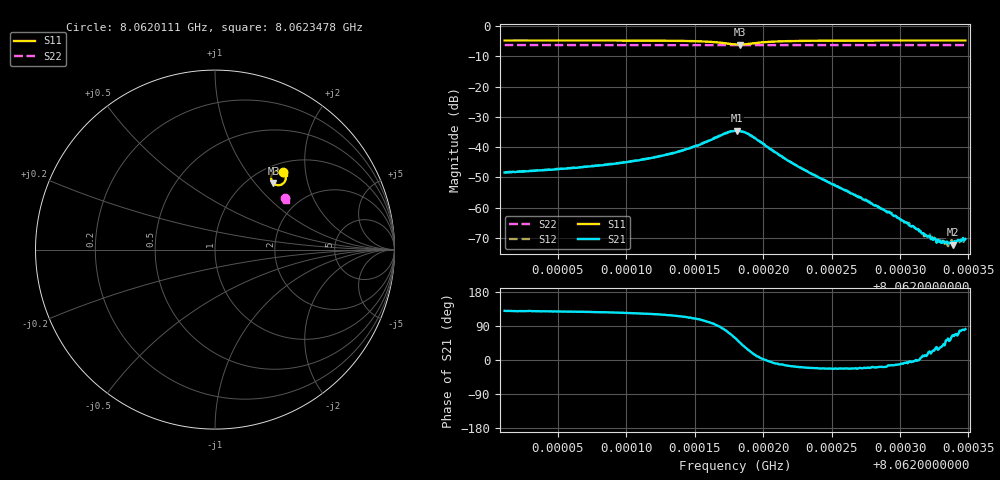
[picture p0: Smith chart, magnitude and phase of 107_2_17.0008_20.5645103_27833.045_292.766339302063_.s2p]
#  HZ  S  RI  R  50.00
! Rohde & Schwarz Vector Network Analyzer
! Rohde-Schwarz,ZNB20-2Port,1311601062101988,3.16
! Created: UTC 3/20/2024, 10:56:52 PM
! freq[Hz]  re:S11  im:S11  re:S21  im:S21  re:S12  im:S12  re:S22  im:S22
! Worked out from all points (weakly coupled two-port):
!   401 points, 8.0620111 GHz to 8.0623478 GHz, reference 50 ohm
!   highest |S21| = -34.60 dB at 8.0621811 GHz (marker M1); lowest = -72.2 dB at 8.0623385 GHz (marker M2)
!   lowest |S11| = -6.2 dB at 8.0621828 GHz (marker M3), VSWR 2.94, Z = 64.1 + j62.5 ohm
!   |S11| at or under -10 dB: nowhere
!   |S22| runs from -6.4 to -6.3 dB; largest |S21 - S12| = 0.0014
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8.06201112e9  0.3773 0.4346  -0.00244 0.00293  -0.00228 0.00311  0.3876 0.2896
8.06206751e9  0.3829 0.4288  -0.00283 0.00369  -0.00261 0.00391  0.3894 0.2867
8.06209865e9  0.3867 0.4236  -0.00312 0.00462  -0.00294 0.00485  0.3905 0.285
8.0621239e9  0.3909 0.4159  -0.00355 0.00605  -0.0032 0.00634  0.3914 0.2835
8.06214662e9  0.394 0.4019  -0.00362 0.00889  -0.00304 0.00929  0.392 0.2817
8.06216598e9  0.3847 0.3736  -0.00049 0.0144  0.00054 0.0147  0.3917 0.2797
8.06217271e9  0.368 0.3615  0.00347 0.0166  0.00467 0.0166  0.391 0.2792
8.06217945e9  0.3396 0.361  0.00977 0.0157  0.011 0.0151  0.3902 0.2794
8.06218113e9  0.3323 0.3645  0.0114 0.0147  0.0124 0.0141  0.3899 0.2796
8.06218281e9  0.3257 0.3695  0.0127 0.0134  0.0135 0.0127  0.39 0.2798
8.06219039e9  0.3124 0.4006  0.0144 0.0062  0.0151 0.00534  0.3899 0.281
8.06221311e9  0.3434 0.4392  0.00702 -0.00148  0.00689 -0.00187  0.3925 0.2811
8.06223584e9  0.3609 0.4398  0.00334 -0.00128  0.00327 -0.0015  0.394 0.2799
8.06229223e9  0.3762 0.434  0.000807 -0.000203  0.000821 -0.000267  0.3964 0.2767
8.06231495e9  0.3794 0.432  0.000413 3.94e-05  0.000412 -2.1e-06  0.397 0.2755
8.06231748e9  0.3798 0.4318  0.000367 6.43e-05  0.000339 2.06e-05  0.3971 0.2754
8.06231916e9  0.38 0.4317  0.000339 6.2e-05  0.000347 4.83e-05  0.3973 0.2753
8.06232673e9  0.3809 0.4312  0.000219 0.000149  0.000252 0.000143  0.3976 0.2749
8.06232926e9  0.3811 0.431  0.000238 0.000155  0.000275 0.00015  0.3978 0.2749
8.06233431e9  0.3817 0.4306  0.000169 0.000219  0.000156 0.000193  0.3977 0.2746
8.06233852e9  0.3822 0.4301  0.000102 0.000223  0.000114 0.000239  0.3979 0.2745
8.06234778e9  0.3829 0.4295  4.49e-05 0.000302  8.36e-05 0.000279  0.3983 0.2738
